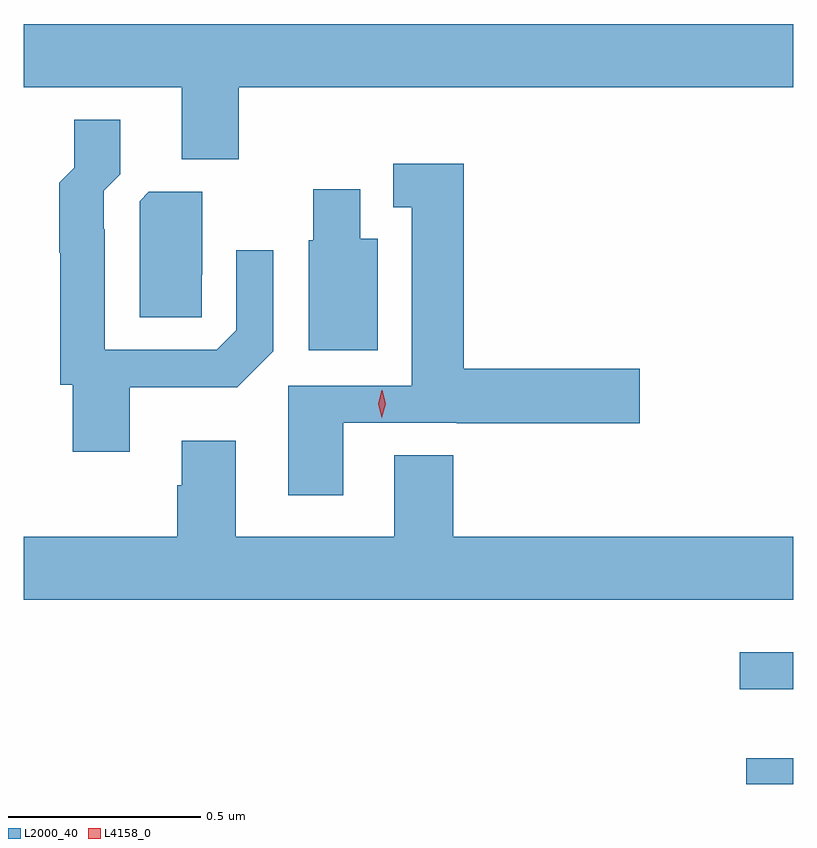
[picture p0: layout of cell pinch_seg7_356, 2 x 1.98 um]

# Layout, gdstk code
import gdstk
lib = gdstk.Library(unit=1e-6, precision=1e-09)
def R(c, l, rs):  # rectangles x0, y0, x1, y1
    for r in rs: c.add(gdstk.rectangle(r[:2], r[2:], *l))
def P(c, l, *ps):  # polygons
    for p in ps: c.add(gdstk.Polygon(p, *l))
L2000_40 = (2000, 40)
L4158_0 = (4158, 0)

pinch_seg7_356 = lib.new_cell('pinch_seg7_356')
R(pinch_seg7_356, L2000_40, [(397.778,1017.453,397.9,1017.52), (397.761,1017.699,397.9,1017.796)])
P(pinch_seg7_356, L2000_40, [(396.459,1019.264),(397.9,1019.264),(397.9,1019.428),(395.9,1019.428),(395.9,1019.264),(396.311,1019.264),(396.311,1019.077),(396.459,1019.077)],
  [(396.175,1018.484),(396.455,1018.484),(396.549,1018.578),(396.549,1018.84),(396.453,1018.84),(396.453,1018.632),(396.402,1018.581),(396.111,1018.581),(396.111,1018.895),(396.108,1018.895),(396.108,1018.995),(396.151,1019.038),(396.151,1019.179),(396.031,1019.179),(396.031,1019.055),(395.993,1019.016),(395.993,1018.834),(395.995,1018.834),(395.995,1018.491),(396.028,1018.491),(396.028,1018.317),(396.175,1018.317)],
  [(396.73,1018.392),(397.026,1018.392),(397.026,1018.39),(397.501,1018.39),(397.501,1018.532),(397.043,1018.532),(397.043,1019.065),(396.86,1019.065),(396.86,1018.952),(396.908,1018.952),(396.908,1018.488),(396.587,1018.488),(396.587,1018.203),(396.73,1018.203)],
  [(396.82,1018.87),(396.775,1018.87),(396.775,1018.999),(396.653,1018.999),(396.653,1018.866),(396.641,1018.866),(396.641,1018.58),(396.82,1018.58)],
  [(396.363,1018.777),(396.364,1018.777),(396.364,1018.992),(396.225,1018.992),(396.201,1018.968),(396.201,1018.666),(396.363,1018.666)],
  [(397.9,1018.096),(397.016,1018.096),(397.016,1018.307),(396.863,1018.307),(396.863,1018.096),(396.451,1018.096),(396.451,1018.345),(396.311,1018.345),(396.311,1018.229),(396.299,1018.229),(396.299,1018.096),(395.9,1018.096),(395.9,1017.932),(397.9,1017.932)])
P(pinch_seg7_356, L4158_0, [(396.831,1018.405),(396.831,1018.405),(396.821,1018.441),(396.831,1018.476),(396.831,1018.476),(396.832,1018.476),(396.841,1018.441),(396.831,1018.405)])

lib.write_gds('pinch_seg7_356.gds')
